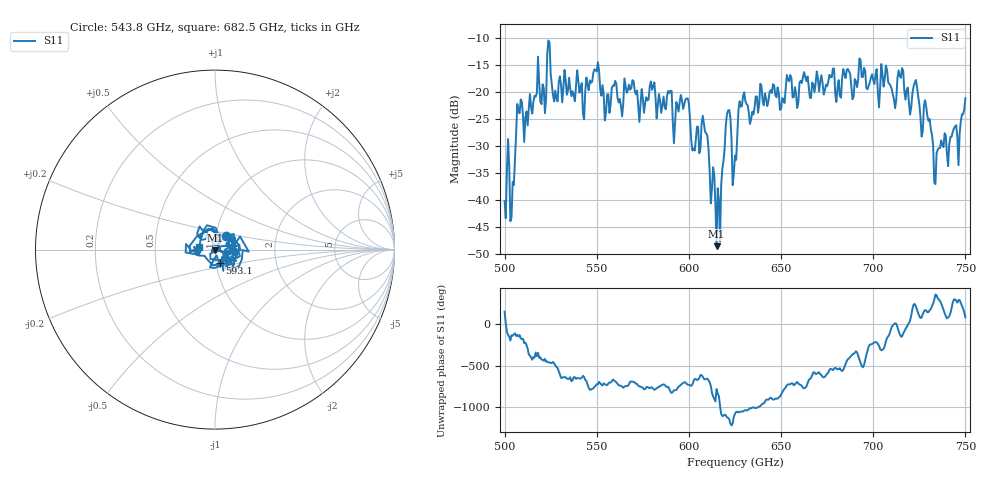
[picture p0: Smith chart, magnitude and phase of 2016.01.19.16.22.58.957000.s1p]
!Created with skrf (http://scikit-rf.org).
# GHz S RI R 50.0
!freq ReS11 ImS11
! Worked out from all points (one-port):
!   401 points, 500 GHz to 750 GHz, reference 50 ohm
!   lowest |S11| = -48.5 dB at 615 GHz (marker M1), VSWR 1.01, Z = 50.2 - j0.324 ohm
!   |S11| at or under -10 dB: start of sweep to end of sweep
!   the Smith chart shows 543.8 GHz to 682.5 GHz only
!   S11 on the Smith chart (normalised r, x): 543.8 GHz: 1.12, +0.18; 593.1 GHz: 1.04, -0.16; 682.5 GHz: 0.84, +0.03
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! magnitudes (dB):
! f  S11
! 500 GHz  -40.2
! 504.4 GHz  -36.6
! 508.1 GHz  -23.9
! 521.2 GHz  -19.3
! 524.4 GHz  -10.8
! 527.5 GHz  -19.7
! 531.2 GHz  -21.9
! 543.8 GHz  -19.9
! 550 GHz  -16.2
! 562.5 GHz  -21.3
! 580 GHz  -19.6
! 593.1 GHz  -21.9
! 593.8 GHz  -22.4
! 598.8 GHz  -21.2
! 602.5 GHz  -30.5
! 608.8 GHz  -27.4
! 615 GHz  -48.5
! 616.2 GHz  -40.0
! 621.2 GHz  -23.4
! 625 GHz  -31.7
! 628.8 GHz  -22.6
! 656.2 GHz  -21.0
! 682.5 GHz  -21.1
! 687.5 GHz  -16.7
! 718.8 GHz  -19.2
! 723.1 GHz  -17.8
! 734.4 GHz  -31.3
! 750 GHz  -21.2
